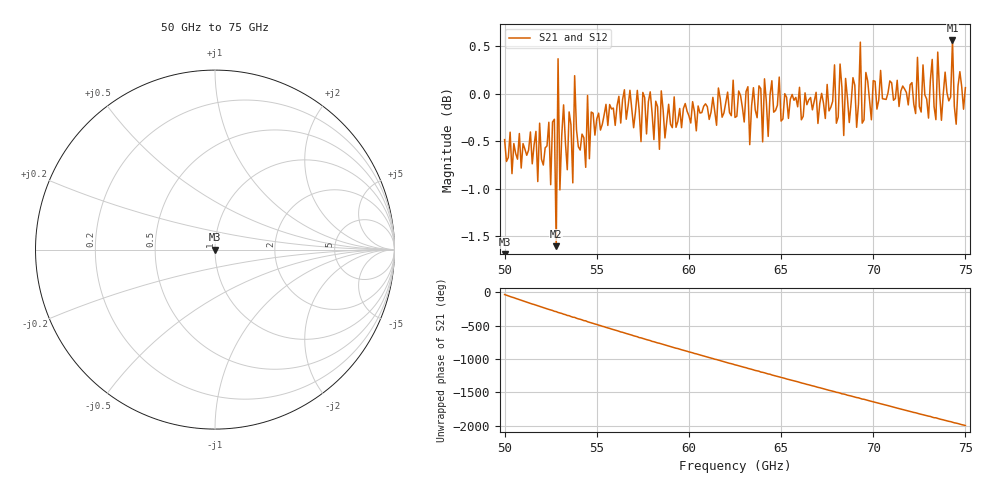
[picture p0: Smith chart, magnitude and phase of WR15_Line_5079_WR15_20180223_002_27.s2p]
# GHZ S RI R 50
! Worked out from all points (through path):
!   251 points, 50 GHz to 75 GHz, reference 50 ohm
!   highest |S21| = 0.56 dB at 74.3 GHz (marker M1); lowest = -1.6 dB at 52.8 GHz (marker M2)
!   lowest |S11| = - dB at 50 GHz (marker M3), VSWR 1.00, Z = 50 - j1.84e-15 ohm
!   |S11| at or under -10 dB: start of sweep to end of sweep
!   |S22| runs from - to - dB; largest |S21 - S12| = 1e-14
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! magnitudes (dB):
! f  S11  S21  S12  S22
! 50 GHz  -  -0.5  -0.5  -
! 52.4 GHz  -  -0.3  -0.3  -
! 52.5 GHz  -  -1.0  -1.0  -
! 52.7 GHz  -  -0.3  -0.3  -
! 52.8 GHz  -  -1.6  -1.6  -
! 52.9 GHz  -  0.4  0.4  -
! 53 GHz  -  -1.0  -1.0  -
! 53.2 GHz  -  -0.1  -0.1  -
! 53.7 GHz  -  -0.9  -0.9  -
! 53.8 GHz  -  0.2  0.2  -
! 54.2 GHz  -  -0.4  -0.4  -
! 58.4 GHz  -  -0.6  -0.6  -
! 58.5 GHz  -  0.0  0.0  -
! 62.5 GHz  -  -0.2  -0.2  -
! 66.7 GHz  -  -0.2  -0.2  -
! 70.9 GHz  -  0.1  0.1  -
! 73.4 GHz  -  -0.3  -0.3  -
! 73.5 GHz  -  0.4  0.4  -
! 73.7 GHz  -  -0.3  -0.3  -
! 74.3 GHz  -  0.6  0.6  -
! 74.5 GHz  -  -0.3  -0.3  -
! 75 GHz  -  0.1  0.1  -
